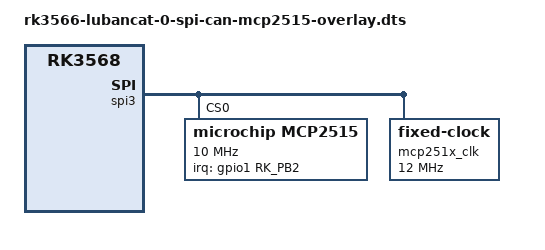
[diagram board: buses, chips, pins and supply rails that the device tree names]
/dts-v1/;
/plugin/;

#include <dt-bindings/gpio/gpio.h>
#include <dt-bindings/pinctrl/rockchip.h>
#include <dt-bindings/interrupt-controller/irq.h>
#include <dt-bindings/input/linux-event-codes.h>

/ {
	compatible = "rockchip,rk3568";

	fragment@0 {
		target = <&spi3>;

		__overlay__ {
			status = "okay";
			#address-cells = <1>;
			#size-cells = <0>;

			// 40PIN引脚只预留SPI3 CS0引脚，如果有多个CS信号，可以使用gpio模拟cs 
			pinctrl-names = "default", "high_speed";
			pinctrl-0 = <&spi3m1_cs0 &spi3m1_pins>;
			pinctrl-1 = <&spi3m1_cs0 &spi3m1_pins_hs>;

			mcp2515: can@00 {
				status = "okay";
				compatible ="microchip,mcp2515";
				reg = <0x00>;
				clocks = <&mcp251x_clk>; 
				interrupt-parent = <&gpio1>;  
				interrupts = <RK_PB2 IRQ_TYPE_EDGE_FALLING>;
				spi-max-frequency = <10000000>;
				pinctrl-names = "default";
				pinctrl-0 = <&mcp2515_irq1_pins>;
				poll_mode = <0>;
				enable_dma = <1>;

			};
			mcp251x_clk:mcp251x-clk{
				compatible="fixed-clock";
				#clock-cells = <0>;
				clock-frequency = <12000000>;
			};
		};
	};

	fragment@1 {
		target = <&pinctrl>;
		__overlay__ {
		mcp2515 {
			mcp2515_irq1_pins:mcp2515-irq1-pins{
				rockchip,pins =
					<1 RK_PB2 RK_FUNC_GPIO &pcfg_pull_none>;
				};
			};
		};
	};
};
